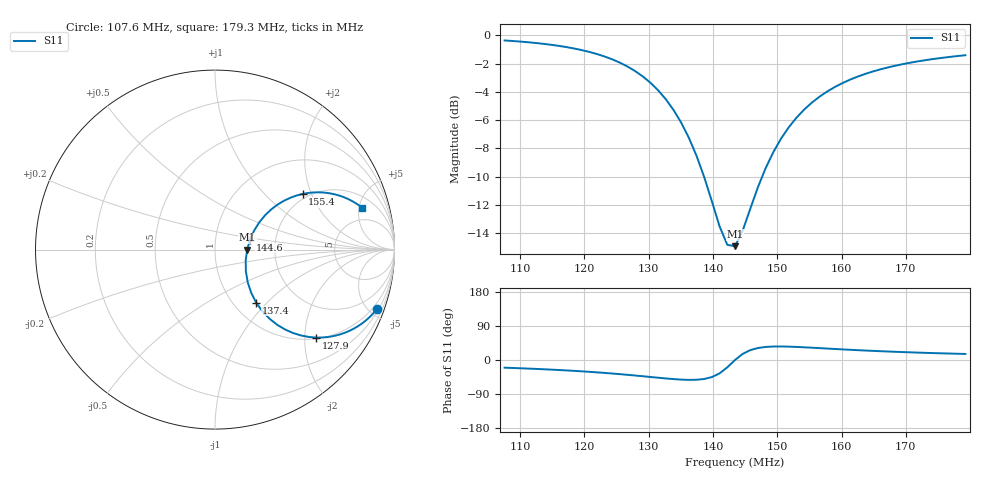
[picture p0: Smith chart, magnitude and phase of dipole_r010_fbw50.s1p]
! Free-space dipole, 1.0 m, 1.0 mm radius
! resonance 143.42 MHz, antenna Q 7.2, fractional bandwidth 50%
! generated with NEC via necpp
# MHZ S MA R 50
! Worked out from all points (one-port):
!   61 points, 107.6 MHz to 179.3 MHz, reference 50 ohm
!   lowest |S11| = -14.9 dB at 143.4 MHz (marker M1), VSWR 1.44, Z = 71.8 + j0 ohm
!   |S11| at or under -10 dB: 138.6 MHz to 147.7 MHz (9.055 MHz wide, 6.33 % of centre)
!   S11 on the Smith chart (normalised r, x): 107.6 MHz: 0.65, -5.52; 127.9 MHz: 1.03, -2.28; 137.4 MHz: 1.26, -0.87; 144.6 MHz: 1.47, +0.17; 155.4 MHz: 1.86, +1.73; 179.3 MHz: 3.14, +5.33
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107.5684  0.9602 -20.3
112.3493  0.9409 -23.4
117.1301  0.9102 -27.4
121.9109  0.8599 -32.6
125.4965  0.8014 -37.3
127.8869  0.7479 -41.0
130.2773  0.6795 -44.8
131.4725  0.639 -46.8
133.863  0.5445 -50.4
135.0582  0.4908 -51.7
136.2534  0.4336 -52.5
137.4486  0.3742 -52.1
138.6438  0.3145 -50.1
139.839  0.2579 -45.0
141.0342  0.2105 -35.2
142.2294  0.1813 -19.2
143.4246  0.1793 -0.0
144.6198  0.2035 16.0
147.0102  0.2908 31.7
148.2054  0.3393 34.5
150.5958  0.4313 35.7
152.9862  0.5112 34.5
155.3766  0.578 32.4
157.767  0.633 30.2
161.3527  0.6977 26.9
166.1335  0.7595 23.2
170.9143  0.8025 20.1
179.2807  0.8513 16.0
